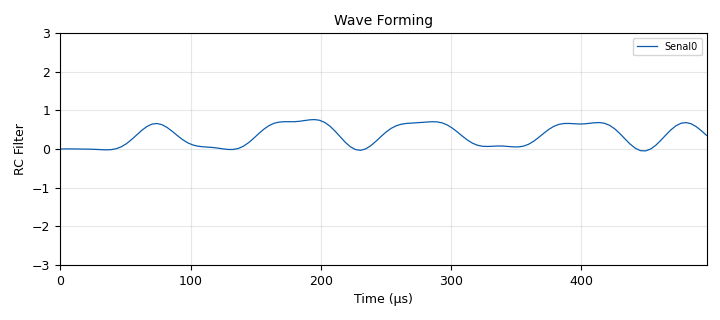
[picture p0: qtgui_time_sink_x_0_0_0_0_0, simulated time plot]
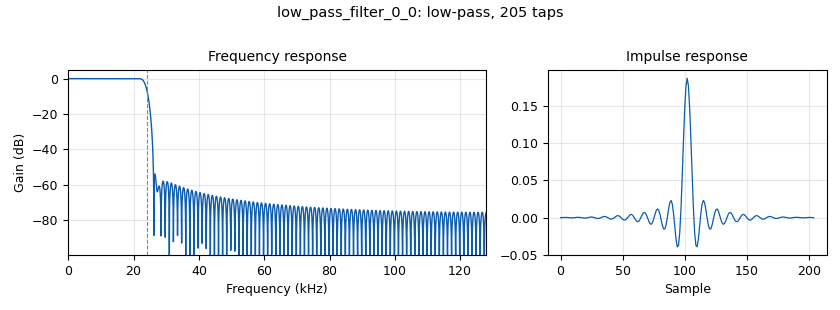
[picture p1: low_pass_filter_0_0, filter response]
options:
  parameters:
    category: Custom
    generate_options: qt_gui
    id: top_block
    output_language: python
  states: {}

blocks:
- name: Rb
  id: variable
  parameters:
    value: '32000'
  states: {}
- name: Sps
  id: variable
  parameters:
    value: '8'
  states: {}
- name: ntaps
  id: variable
  parameters:
    value: '128'
  states: {}
- name: rolloff1
  id: variable
  parameters:
    value: '1.0'
  states: {}
- name: rolloff2
  id: variable
  parameters:
    value: '0.5'
  states: {}
- name: rolloff3
  id: variable
  parameters:
    value: '0.35'
  states: {}
- name: rolloff4
  id: variable
  parameters:
    value: '0.'
  states: {}
- name: samp_rate
  id: variable
  parameters:
    value: Rb*Sps
  states: {}
- name: E3TRadio_vec_diagrama_ojo_f_0
  id: E3TRadio_vec_diagrama_ojo_f
  parameters:
    N: Sps*256
    Sps: Sps
    samp_rate: samp_rate
  states: {}
- name: VS
  id: virtual_sink
  parameters:
    stream_id: P1
  states: {}
- name: analog_noise_source_x_0
  id: analog_noise_source_x
  parameters:
    amp: '0.15'
    noise_type: analog.GR_GAUSSIAN
    seed: '0'
    type: float
  states: {}
- name: analog_random_source_x_0
  id: analog_random_source_x
  parameters:
    max: '2'
    min: '0'
    num_samps: '1000000'
    repeat: 'True'
    type: int
  states: {}
- name: blocks_add_xx_0_0
  id: blocks_add_xx
  parameters:
    type: float
  states: {}
- name: blocks_delay_0
  id: blocks_delay
  parameters:
    delay: int(Sps/2)
    type: float
  states: {}
- name: blocks_int_to_float_0
  id: blocks_int_to_float
  parameters:
    scale: '1'
  states: {}
- name: blocks_multiply_const_vxx_0_0
  id: blocks_multiply_const_vxx
  parameters:
    const: 1/1.5
    type: float
  states: {}
- name: blocks_stream_to_vector_0_0
  id: blocks_stream_to_vector
  parameters:
    num_items: Sps*256
    type: float
  states: {}
- name: import_0
  id: import
  parameters:
    imports: import numpy
  states: {}
- name: interp_fir_filter_xxx_0_0_0_0_0_0
  id: interp_fir_filter_xxx
  parameters:
    interp: Sps
    taps: wform.rcos(Sps,ntaps,rolloff1)
    type: fff
  states: {}
- name: low_pass_filter_0_0
  id: low_pass_filter
  parameters:
    cutoff_freq: (Rb/2)*(1+rolloff2)
    decim: '1'
    gain: '1'
    samp_rate: samp_rate
    type: fir_filter_fff
    width: (Rb/2)*(1+rolloff2)/8
    win: firdes.WIN_HAMMING
  states: {}
- name: pestana
  id: qtgui_tab_widget
  parameters:
    label0: Datos
    label1: Espectro
    label2: Diagrama de Ojo
    num_tabs: '3'
  states: {}
- name: qtgui_time_sink_x_0_0_0_0_0
  id: qtgui_time_sink_x
  parameters:
    ctrlpanel: 'True'
    gui_hint: pestana@0
    label1: Senal0
    name: '"Wave Forming"'
    size: ntaps
    srate: samp_rate
    tr_mode: qtgui.TRIG_MODE_AUTO
    type: float
    width1: '3'
    ylabel: RC Filter
    ymax: '3'
    ymin: '-3'
  states: {}
- name: virtual_source_0
  id: virtual_source
  parameters:
    stream_id: P1
  states: {}
- name: wform
  id: epy_module
  parameters:
    source_code: |
      import math
      import numpy
      #######################################################
      ##        Hecho por Homero Ortega Boada              ##
      ##        comdiguis@saber.uis.edu.co                 ##
      ##     Universidad Industrial de Santander           ##
      #######################################################

      #######################################################
      ##               Forma rectangular                   ##
      #######################################################                       
      def rect(Sps):
          return Sps*[1.,]

      #######################################################
      ##               Forma de Nyquist                    ##
      #######################################################                       
      def nyq(Sps,ntaps):
          n=numpy.linspace(-int(ntaps/2), int(ntaps/2-1),ntaps)
          h=numpy.sinc(n/Sps)
      #    return h/numpy.amax(h)
          return h
      #######################################################
      ##               Forma Coseno Alzado                 ##
      #######################################################                       
      def rcos(Sps,ntaps,beta):
          if beta==0:
              h=nyq(Sps,ntaps)
          else:
              h=ntaps*[0,]
              for n in range(ntaps):
                  k=n-ntaps/2. # esto es para que h[n] quede centrada en la mitad del vector
                  if abs(k)==Sps/(2.*beta):
                      h[n]=numpy.sinc(1./(2.*beta))*math.pi/4.
                  else:
                      h[n]=numpy.sinc(k/Sps)*math.cos(beta*k*math.pi/Sps)/(1.-(2.*beta*k/Sps)**2)                
          Amp=numpy.amax(h)
          return h/Amp
      #######################################################
      ##            Forma Raiz de Coseno Alzado            ##
      #######################################################                       

      def rrcos(Sps,ntaps,beta):
          if beta==0:
              h=nyq(Sps,ntaps)
          else:
              h=ntaps*[0,]
              beta4=4.*beta
              for n in range(ntaps):
                  k=n-ntaps/2. # esto es para que h[n] quede centrada en la mitad del vector
                  if k==0:
                      h[n]=1+beta*(4./math.pi-1.)
                  elif abs(k)==Sps/beta4:
                      ha=(1.+2./math.pi)*math.sin(math.pi/beta4)
                      hb=(1.-2./math.pi)*math.cos(math.pi/beta4)
                      h[n]=(ha+hb)*beta/math.sqrt(2.)
                  else:
                      ks=k/Sps
                      kspi=math.pi*ks
                      Num=math.sin(kspi*(1-beta))+beta4*ks*math.cos(kspi*(1+beta))
                      Den=kspi*(1.-(beta4*ks)**2)
                      h[n]=Num/Den                
          Amp=numpy.amax(h)
          return h/Amp
  states: {}

connections:
- [analog_noise_source_x_0, '0', low_pass_filter_0_0, '0']
- [analog_random_source_x_0, '0', blocks_int_to_float_0, '0']
- [blocks_add_xx_0_0, '0', blocks_multiply_const_vxx_0_0, '0']
- [blocks_delay_0, '0', blocks_stream_to_vector_0_0, '0']
- [blocks_int_to_float_0, '0', interp_fir_filter_xxx_0_0_0_0_0_0, '0']
- [blocks_multiply_const_vxx_0_0, '0', VS, '0']
- [blocks_stream_to_vector_0_0, '0', E3TRadio_vec_diagrama_ojo_f_0, '0']
- [interp_fir_filter_xxx_0_0_0_0_0_0, '0', blocks_add_xx_0_0, '0']
- [low_pass_filter_0_0, '0', blocks_add_xx_0_0, '1']
- [virtual_source_0, '0', blocks_delay_0, '0']
- [virtual_source_0, '0', qtgui_time_sink_x_0_0_0_0_0, '0']

metadata:
  file_format: 1
